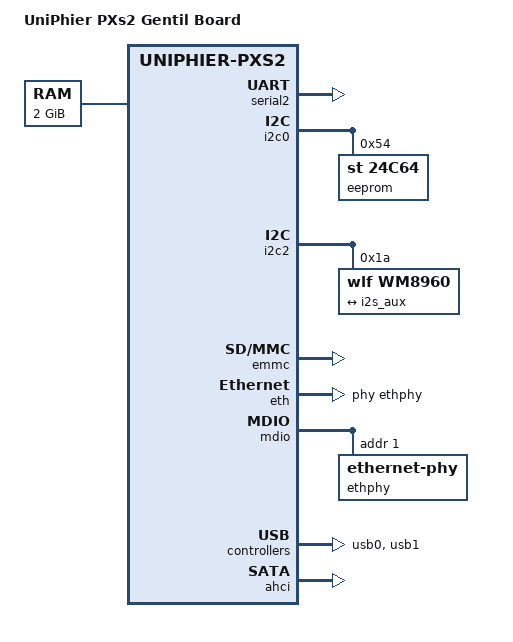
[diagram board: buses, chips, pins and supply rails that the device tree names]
// SPDX-License-Identifier: GPL-2.0+ OR MIT
//
// Device Tree Source for UniPhier PXs2 Gentil Board
//
// Copyright (C) 2015-2016 Socionext Inc.
//   Author: Masahiro Yamada <yamada.masahiro@socionext.com>

/dts-v1/;
#include "uniphier-pxs2.dtsi"

/ {
	model = "UniPhier PXs2 Gentil Board";
	compatible = "socionext,uniphier-pxs2-gentil",
		     "socionext,uniphier-pxs2";

	chosen {
		stdout-path = "serial0:115200n8";
	};

	aliases {
		serial0 = &serial2;
		serial1 = &serial0;
		serial2 = &serial1;
		i2c0 = &i2c0;
		i2c2 = &i2c2;
		i2c4 = &i2c4;
		i2c5 = &i2c5;
		i2c6 = &i2c6;
		ethernet0 = &eth;
	};

	memory@80000000 {
		device_type = "memory";
		reg = <0x80000000 0x80000000>;
	};

	sound {
		compatible = "audio-graph-card";
		label = "UniPhier PXs2";
		dais = <&i2s_port2>;
	};
};

&serial2 {
	status = "okay";
};

&i2c0 {
	status = "okay";

	eeprom@54 {
		compatible = "st,24c64", "atmel,24c64";
		reg = <0x54>;
		pagesize = <32>;
	};
};

&i2s_aux {
	dai-format = "i2s";
	remote-endpoint = <&wm_speaker>;
};

&i2c2 {
	status = "okay";

	wm8960@1a {
		compatible = "wlf,wm8960";
		reg = <0x1a>;
		#sound-dai-cells = <0>;

		port@0 {
			wm_speaker: endpoint {
				dai-format = "i2s";
				remote-endpoint = <&i2s_aux>;
			};
		};
	};
};

&emmc {
	status = "okay";
};

&eth {
	status = "okay";
	phy-handle = <&ethphy>;
};

&mdio {
	ethphy: ethernet-phy@1 {
		reg = <1>;
	};
};

&usb0 {
	status = "okay";
};

&usb1 {
	status = "okay";
};

&ahci {
	status = "okay";
};
